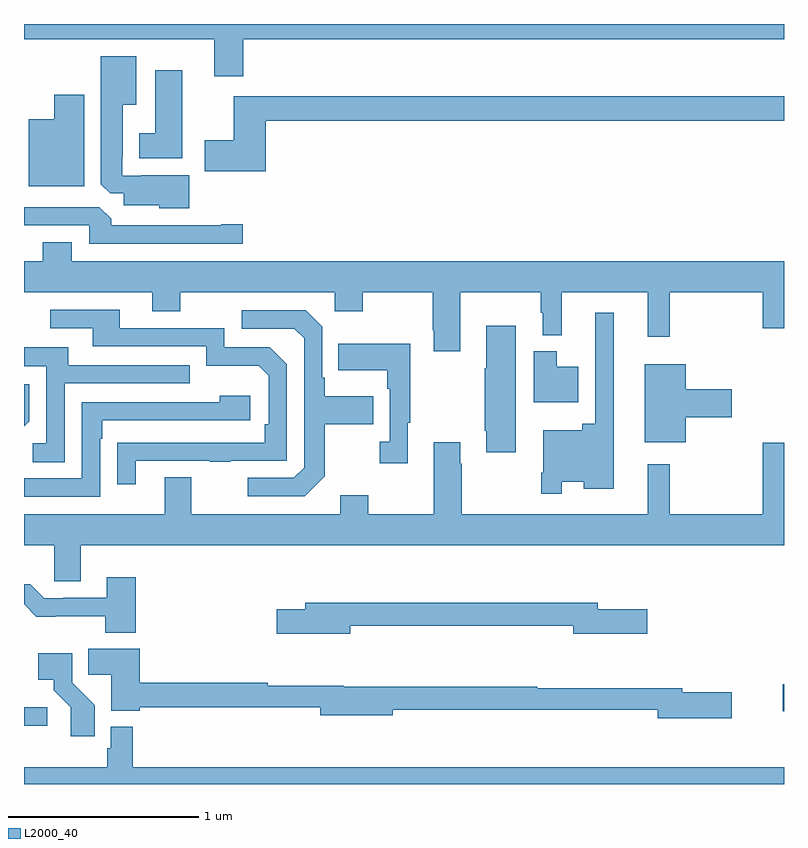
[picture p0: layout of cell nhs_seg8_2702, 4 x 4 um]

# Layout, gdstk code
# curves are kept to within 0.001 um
import gdstk
lib = gdstk.Library(unit=1e-6, precision=1e-09)
def R(c, l, rs):  # rectangles x0, y0, x1, y1
    for r in rs: c.add(gdstk.rectangle(r[:2], r[2:], *l))
def P(c, l, *ps):  # polygons
    for p in ps: c.add(gdstk.Polygon(p, *l))
L2000_40 = (2000, 40)

nhs_seg8_2702 = lib.new_cell('nhs_seg8_2702')
R(nhs_seg8_2702, L2000_40, [(281,1126.207,281.122,1126.305), (284.994,1126.282,285,1126.424)])
P(nhs_seg8_2702, L2000_40, [(282.155,1129.82),(285,1129.82),(285,1129.9),(281,1129.9),(281,1129.82),(282.002,1129.82),(282.002,1129.626),(282.155,1129.626)],
  [(281.869,1129.105),(281.617,1129.105),(281.617,1129.101),(281.517,1129.101),(281.517,1129.201),(281.521,1129.201),(281.521,1129.475),(281.59,1129.475),(281.59,1129.729),(281.405,1129.729),(281.405,1129.057),(281.454,1129.008),(281.525,1129.008),(281.525,1128.947),(281.712,1128.947),(281.712,1128.929),(281.869,1128.929)],
  [(281.833,1129.657),(281.69,1129.657),(281.69,1129.324),(281.606,1129.324),(281.606,1129.193),(281.833,1129.193)],
  [(281.317,1129.528),(281.159,1129.528),(281.159,1129.399),(281.024,1129.399),(281.024,1129.046),(281.317,1129.046)],
  [(282.272,1129.39),(285,1129.39),(285,1129.519),(282.104,1129.519),(282.104,1129.287),(281.952,1129.287),(281.952,1129.124),(282.272,1129.124)],
  [(282.151,1128.845),(282.038,1128.845),(282.038,1128.84),(281.459,1128.84),(281.459,1128.874),(281.397,1128.936),(281,1128.936),(281,1128.84),(281.343,1128.84),(281.343,1128.744),(282.151,1128.744)],
  [(283.297,1128.488),(283.719,1128.488),(283.719,1128.381),(283.73,1128.381),(283.73,1128.263),(283.829,1128.263),(283.829,1128.488),(284.282,1128.488),(284.282,1128.255),(284.399,1128.255),(284.399,1128.488),(284.888,1128.488),(284.888,1128.3),(285,1128.3),(285,1128.652),(281.251,1128.652),(281.251,1128.751),(281.099,1128.751),(281.099,1128.652),(281,1128.652),(281,1128.488),(281.675,1128.488),(281.675,1128.389),(281.823,1128.389),(281.823,1128.488),(282.636,1128.488),(282.636,1128.389),(282.783,1128.389),(282.783,1128.488),(283.15,1128.488),(283.15,1128.289),(283.157,1128.289),(283.157,1128.177),(283.297,1128.177)],
  [(281.587,1127.601),(281.977,1127.601),(281.977,1127.596),(282.089,1127.596),(282.089,1127.601),(282.384,1127.601),(282.384,1128.108),(282.294,1128.198),(282.054,1128.198),(282.054,1128.3),(281.503,1128.3),(281.503,1128.396),(281.139,1128.396),(281.139,1128.3),(281.363,1128.3),(281.363,1128.204),(281.958,1128.204),(281.958,1128.101),(282.235,1128.101),(282.288,1128.048),(282.288,1127.794),(282.268,1127.794),(282.268,1127.697),(281.491,1127.696),(281.491,1127.478),(281.587,1127.478)],
  [(282.583,1127.521),(282.583,1127.794),(282.839,1127.794),(282.839,1127.941),(282.583,1127.941),(282.583,1128.037),(282.57,1128.037),(282.57,1128.306),(282.483,1128.393),(282.147,1128.393),(282.147,1128.297),(282.423,1128.297),(282.474,1128.246),(282.474,1127.565),(282.42,1127.511),(282.177,1127.511),(282.177,1127.415),(282.477,1127.415)],
  [(283.83,1127.492),(283.946,1127.492),(283.946,1127.453),(284.104,1127.453),(284.104,1128.379),(284.007,1128.379),(284.007,1127.797),(283.939,1127.797),(283.939,1127.761),(283.734,1127.761),(283.734,1127.539),(283.722,1127.539),(283.722,1127.427),(283.83,1127.427)],
  [(283.588,1128.313),(283.433,1128.313),(283.433,1128.089),(283.426,1128.089),(283.426,1127.758),(283.433,1127.758),(283.433,1127.646),(283.588,1127.646)],
  [(283.021,1127.801),(283.033,1127.801),(283.033,1128.217),(282.655,1128.217),(282.655,1128.077),(282.912,1128.077),(282.912,1127.981),(282.924,1127.981),(282.924,1127.702),(282.873,1127.702),(282.873,1127.589),(283.021,1127.589)],
  [(281.214,1128.009),(281.873,1128.009),(281.873,1128.105),(281.233,1128.105),(281.233,1128.199),(281,1128.199),(281,1128.099),(281.118,1128.099),(281.118,1127.694),(281.046,1127.694),(281.046,1127.593),(281.214,1127.593)],
  [(283.918,1128.097),(283.804,1128.097),(283.804,1128.178),(283.682,1128.178),(283.682,1127.909),(283.918,1127.909)],
  [(284.482,1127.831),(284.725,1127.831),(284.725,1127.978),(284.482,1127.978),(284.482,1128.109),(284.267,1128.109),(284.267,1127.699),(284.482,1127.699)],
  [(281.028,1127.81),(281.028,1128.004),(281,1128.004),(281,1127.782)],
  [(281.4,1127.717),(281.413,1127.717),(281.413,1127.814),(282.19,1127.814),(282.19,1127.944),(282.029,1127.944),(282.029,1127.91),(281.304,1127.91),(281.304,1127.508),(281,1127.509),(281,1127.412),(281.4,1127.412)],
  [(281.299,1127.156),(285,1127.156),(285,1127.695),(284.888,1127.695),(284.888,1127.32),(284.399,1127.32),(284.399,1127.584),(284.282,1127.584),(284.282,1127.32),(283.305,1127.32),(283.305,1127.585),(283.297,1127.585),(283.297,1127.698),(283.157,1127.698),(283.157,1127.32),(282.813,1127.32),(282.813,1127.419),(282.665,1127.419),(282.665,1127.32),(281.881,1127.32),(281.881,1127.515),(281.741,1127.515),(281.741,1127.32),(281,1127.32),(281,1127.156),(281.16,1127.156),(281.16,1126.966),(281.299,1126.966)],
  [(281.588,1126.987),(281.435,1126.987),(281.435,1126.881),(281.206,1126.881),(281.206,1126.878),(281.106,1126.878),(281.033,1126.951),(281,1126.951),(281,1126.846),(281.065,1126.781),(281.428,1126.782),(281.428,1126.697),(281.588,1126.697)],
  [(282.718,1126.734),(283.892,1126.734),(283.892,1126.691),(284.281,1126.691),(284.281,1126.821),(284.02,1126.821),(284.02,1126.855),(282.479,1126.855),(282.479,1126.821),(282.33,1126.821),(282.33,1126.691),(282.718,1126.691)],
  [(284.725,1126.382),(284.464,1126.382),(284.464,1126.403),(283.701,1126.403),(283.701,1126.411),(282.684,1126.411),(282.684,1126.418),(282.284,1126.418),(282.284,1126.433),(281.609,1126.433),(281.609,1126.612),(281.338,1126.612),(281.338,1126.474),(281.459,1126.474),(281.459,1126.286),(281.609,1126.286),(281.609,1126.305),(282.56,1126.305),(282.56,1126.262),(282.94,1126.262),(282.94,1126.29),(284.336,1126.29),(284.336,1126.247),(284.725,1126.247)],
  [(281.372,1126.314),(281.253,1126.433),(281.253,1126.588),(281.076,1126.588),(281.076,1126.448),(281.156,1126.448),(281.156,1126.393),(281.247,1126.303),(281.247,1126.152),(281.372,1126.152)],
  [(285,1125.988),(281.573,1125.988),(281.573,1126.201),(281.457,1126.201),(281.457,1126.089),(281.437,1126.089),(281.437,1125.988),(281,1125.988),(281,1125.9),(285,1125.9)])

lib.write_gds('nhs_seg8_2702.gds')
